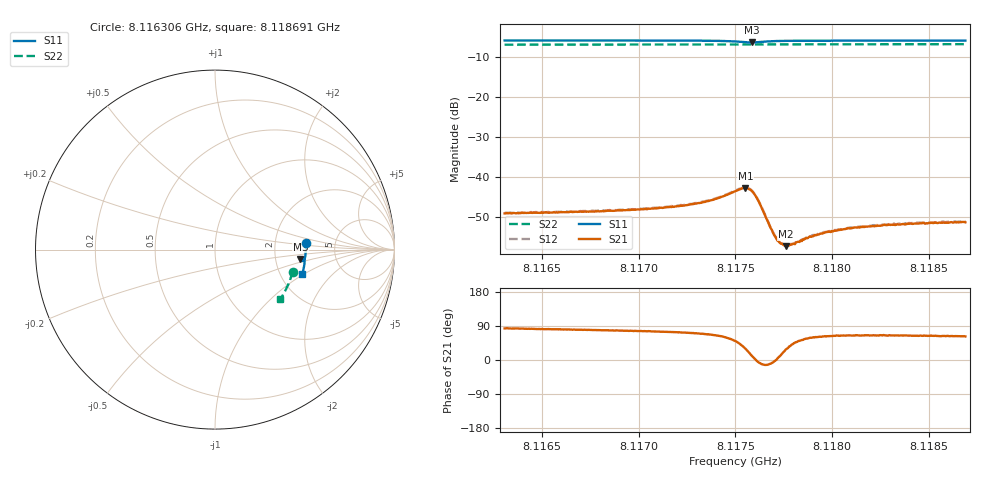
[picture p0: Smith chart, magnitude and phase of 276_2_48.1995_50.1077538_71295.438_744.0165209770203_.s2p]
#  HZ  S  RI  R  50.00
! Rohde & Schwarz Vector Network Analyzer
! Rohde-Schwarz,ZNB20-2Port,1311601062101988,3.16
! Created: UTC 3/20/2024, 11:48:22 AM
! freq[Hz]  re:S11  im:S11  re:S21  im:S21  re:S12  im:S12  re:S22  im:S22
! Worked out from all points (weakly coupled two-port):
!   401 points, 8.116306 GHz to 8.118691 GHz, reference 50 ohm
!   highest |S21| = -42.70 dB at 8.117552 GHz (marker M1); lowest = -57.2 dB at 8.117761 GHz (marker M2)
!   lowest |S11| = -6.4 dB at 8.117588 GHz (marker M3), VSWR 2.83, Z = 139 - j18.9 ohm
!   |S11| at or under -10 dB: nowhere
!   |S22| runs from -7.0 to -6.8 dB; largest |S21 - S12| = 0.00019
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8.1163057e9  0.5057 0.0353  0.000407 0.00352  0.000482 0.00359  0.4322 -0.1224
8.1167052e9  0.5063 0.00513  0.000656 0.00365  0.000723 0.0037  0.4249 -0.1492
8.1171047e9  0.5049 -0.0261  0.00107 0.00398  0.00114 0.00407  0.4159 -0.1756
8.1172418e9  0.5032 -0.0378  0.00137 0.00426  0.00144 0.00432  0.4125 -0.1846
8.1173313e9  0.5013 -0.046  0.00172 0.00457  0.00183 0.00463  0.41 -0.1903
8.1174088e9  0.4985 -0.054  0.00236 0.00493  0.00249 0.00497  0.4079 -0.1953
8.1174982e9  0.4893 -0.0628  0.00425 0.00515  0.0044 0.00521  0.4048 -0.2012
8.1175519e9  0.4784 -0.0613  0.00635 0.00367  0.00653 0.00366  0.4029 -0.2041
8.1175698e9  0.4757 -0.0575  0.0067 0.00246  0.00685 0.00244  0.4022 -0.2049
8.1175877e9  0.4755 -0.0525  0.00654 0.00114  0.00667 0.00106  0.4018 -0.206
8.1176175e9  0.4807 -0.0466  0.00514 -0.000446  0.00522 -0.000513  0.4013 -0.2074
8.1176831e9  0.4932 -0.0496  0.00228 -0.000393  0.00231 -0.000411  0.3999 -0.2118
8.1177069e9  0.4954 -0.0526  0.00181 -6.08e-05  0.00183 -5.83e-05  0.3993 -0.2132
8.1177248e9  0.4966 -0.0548  0.00156 0.000214  0.00161 0.000192  0.3989 -0.2145
8.1177367e9  0.4972 -0.0564  0.00144 0.000354  0.00144 0.000351  0.3984 -0.2154
8.1177606e9  0.498 -0.0594  0.00123 0.00064  0.00132 0.000661  0.3978 -0.2169
8.1178023e9  0.4986 -0.0641  0.00106 0.00103  0.00111 0.00101  0.3965 -0.2196
8.1178977e9  0.4986 -0.0733  0.000943 0.00157  0.000976 0.00162  0.3936 -0.2255
8.1179752e9  0.498 -0.0802  0.000951 0.00185  0.00097 0.00186  0.3909 -0.2304
8.1180766e9  0.4968 -0.0886  0.000973 0.00208  0.00101 0.00207  0.3877 -0.2367
8.1182972e9  0.4935 -0.1058  0.00106 0.00234  0.00114 0.00238  0.3798 -0.2502
8.1186908e9  0.4862 -0.1349  0.00128 0.00243  0.0013 0.00252  0.3649 -0.2732
